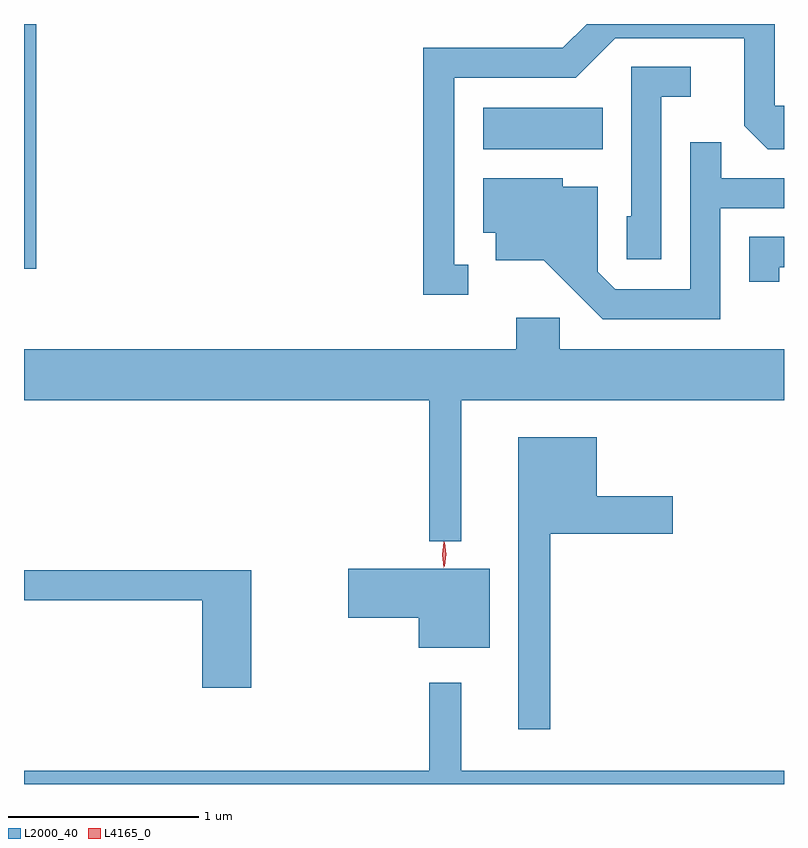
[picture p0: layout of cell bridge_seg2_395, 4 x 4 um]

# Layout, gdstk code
import gdstk
lib = gdstk.Library(unit=1e-6, precision=1e-09)
def R(c, l, rs):  # rectangles x0, y0, x1, y1
    for r in rs: c.add(gdstk.rectangle(r[:2], r[2:], *l))
def P(c, l, *ps):  # polygons
    for p in ps: c.add(gdstk.Polygon(p, *l))
L2000_40 = (2000, 40)
L4165_0 = (4165, 0)

bridge_seg2_395 = lib.new_cell('bridge_seg2_395')
R(bridge_seg2_395, L2000_40, [(576.559,1044.566,576.624,1045.855), (578.976,1045.196,579.604,1045.414)])
P(bridge_seg2_395, L2000_40, [(578.898,1044.589),(578.824,1044.589),(578.824,1045.571),(579.462,1045.571),(579.672,1045.781),(580.351,1045.781),(580.351,1045.319),(580.474,1045.196),(580.559,1045.196),(580.559,1045.424),(580.509,1045.424),(580.509,1045.855),(579.52,1045.855),(579.394,1045.729),(578.661,1045.729),(578.661,1044.431),(578.898,1044.431)],
  [(579.914,1045.471),(580.068,1045.471),(580.068,1045.629),(579.756,1045.629),(579.756,1044.844),(579.731,1044.844),(579.731,1044.616),(579.914,1044.616)],
  [(580.224,1044.886),(580.559,1044.886),(580.559,1045.044),(580.229,1045.044),(580.229,1045.233),(580.066,1045.233),(580.066,1044.459),(579.672,1044.459),(579.579,1044.552),(579.579,1044.999),(579.394,1044.999),(579.394,1045.044),(578.976,1045.044),(578.976,1044.756),(579.041,1044.756),(579.041,1044.611),(579.294,1044.611),(579.604,1044.301),(580.224,1044.301)],
  [(580.534,1044.576),(580.559,1044.576),(580.559,1044.734),(580.376,1044.734),(580.376,1044.498),(580.534,1044.498)],
  [(578.859,1043.876),(580.559,1043.876),(580.559,1044.144),(579.379,1044.144),(579.379,1044.309),(579.151,1044.309),(579.151,1044.144),(576.559,1044.144),(576.559,1043.876),(578.691,1043.876),(578.691,1043.132),(578.859,1043.132)],
  [(579.329,1043.171),(579.974,1043.171),(579.974,1043.369),(579.574,1043.369),(579.574,1043.679),(579.161,1043.679),(579.161,1042.142),(579.329,1042.142)],
  [(579.009,1042.989),(578.266,1042.989),(578.266,1042.731),(578.636,1042.731),(578.636,1042.571),(579.009,1042.571)],
  [(577.754,1042.979),(576.559,1042.979),(576.559,1042.821),(577.496,1042.821),(577.496,1042.361),(577.754,1042.361)],
  [(580.559,1041.924),(578.859,1041.924),(578.859,1042.388),(578.691,1042.388),(578.691,1041.924),(576.559,1041.924),(576.559,1041.855),(580.559,1041.855)])
P(bridge_seg2_395, L4165_0, [(578.768,1042.994),(578.768,1042.994),(578.759,1043.062),(578.769,1043.13),(578.77,1043.13),(578.77,1043.13),(578.779,1043.062),(578.769,1042.994)],
  [(578.772,1043),(578.772,1043),(578.762,1043.063),(578.772,1043.126),(578.772,1043.127),(578.773,1043.126),(578.782,1043.063),(578.773,1043)])

lib.write_gds('bridge_seg2_395.gds')
